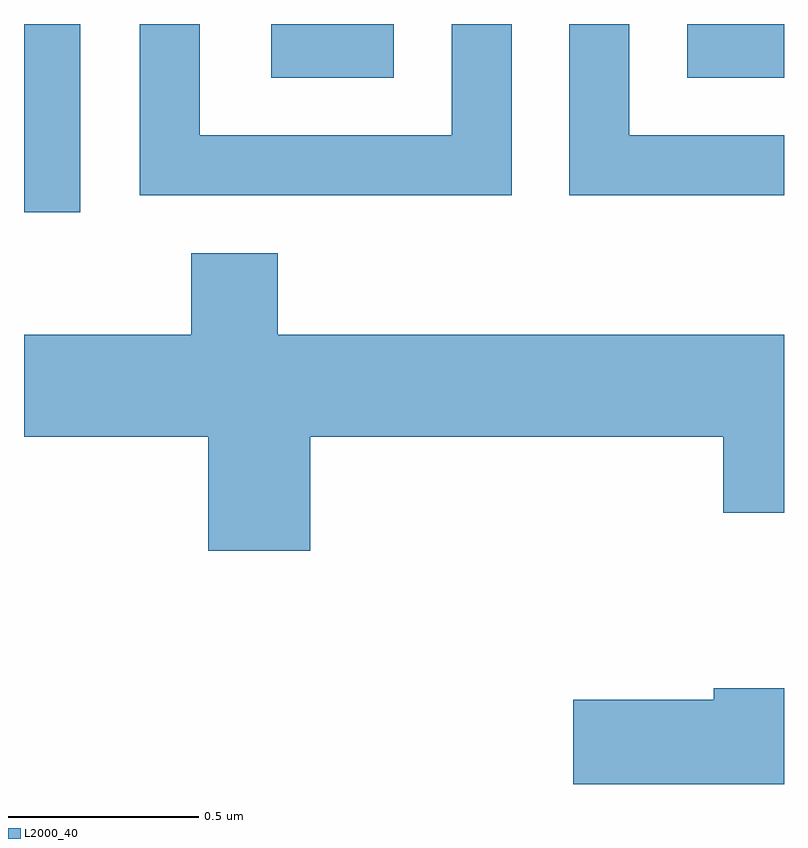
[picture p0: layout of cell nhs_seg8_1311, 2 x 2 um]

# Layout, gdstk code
import gdstk
lib = gdstk.Library(unit=1e-6, precision=1e-09)
def R(c, l, rs):  # rectangles x0, y0, x1, y1
    for r in rs: c.add(gdstk.rectangle(r[:2], r[2:], *l))
def P(c, l, *ps):  # polygons
    for p in ps: c.add(gdstk.Polygon(p, *l))
L2000_40 = (2000, 40)

nhs_seg8_1311 = lib.new_cell('nhs_seg8_1311')
R(nhs_seg8_1311, L2000_40, [(194.611,1885.846,194.759,1886.342), (195.261,1886.201,195.584,1886.342), (196.356,1886.201,196.611,1886.342)])
P(nhs_seg8_1311, L2000_40, [(195.894,1886.342),(195.736,1886.342),(195.736,1886.049),(195.074,1886.049),(195.074,1886.342),(194.916,1886.342),(194.916,1885.891),(195.894,1885.891)],
  [(196.611,1886.049),(196.204,1886.049),(196.204,1886.342),(196.046,1886.342),(196.046,1885.891),(196.611,1885.891)],
  [(195.364,1885.256),(196.451,1885.256),(196.451,1885.056),(196.611,1885.056),(196.611,1885.524),(195.279,1885.524),(195.279,1885.739),(195.051,1885.739),(195.051,1885.524),(194.611,1885.524),(194.611,1885.256),(195.096,1885.256),(195.096,1884.956),(195.364,1884.956)],
  [(196.611,1884.594),(196.426,1884.594),(196.426,1884.564),(196.056,1884.564),(196.056,1884.342),(196.611,1884.342)])

lib.write_gds('nhs_seg8_1311.gds')
